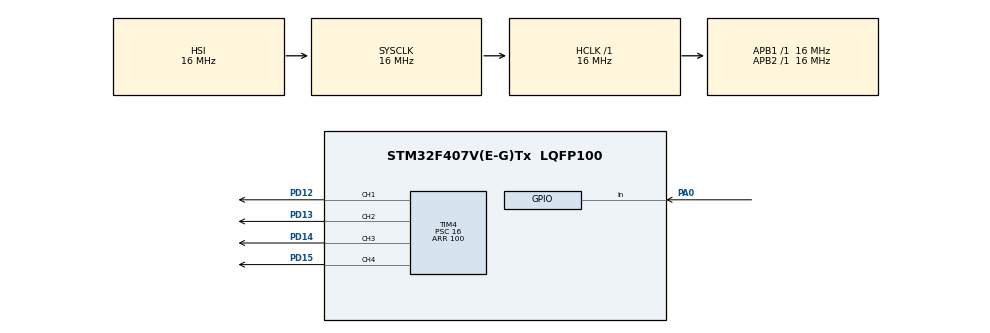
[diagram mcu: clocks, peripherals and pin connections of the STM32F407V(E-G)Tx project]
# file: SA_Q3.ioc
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Mcu.Family=STM32F4
Mcu.Name=STM32F407V(E-G)Tx
Mcu.Package=LQFP100
NVIC.PriorityGroup=NVIC_PRIORITYGROUP_4
NVIC.TIM4_IRQn=true\:0\:0\:false\:false\:true\:true\:true\:true
PA0-WKUP.Signal=GPIO_Input
PD12.Signal=S_TIM4_CH1
PD13.Signal=S_TIM4_CH2
PD14.Signal=S_TIM4_CH3
PD15.Signal=S_TIM4_CH4
ProjectManager.HeapSize=0x200
ProjectManager.StackSize=0x400
ProjectManager.TargetToolchain=STM32CubeIDE
RCC.AHBFreq_Value=16000000
RCC.APB1Freq_Value=16000000
RCC.APB2Freq_Value=16000000
RCC.CortexFreq_Value=16000000
RCC.HSE_VALUE=25000000
RCC.HSI_VALUE=16000000
RCC.LSE_VALUE=32768
RCC.SYSCLKFreq_VALUE=16000000
RCC.VCOOutputFreq_Value=192000000
SH.S_TIM4_CH1.0=TIM4_CH1,PWM Generation1 CH1
SH.S_TIM4_CH2.0=TIM4_CH2,PWM Generation2 CH2
SH.S_TIM4_CH3.0=TIM4_CH3,PWM Generation3 CH3
SH.S_TIM4_CH4.0=TIM4_CH4,PWM Generation4 CH4
TIM4.Channel-PWM\ Generation1\ CH1=TIM_CHANNEL_1
TIM4.Channel-PWM\ Generation2\ CH2=TIM_CHANNEL_2
TIM4.Channel-PWM\ Generation3\ CH3=TIM_CHANNEL_3
TIM4.Channel-PWM\ Generation4\ CH4=TIM_CHANNEL_4
TIM4.Period=100
TIM4.Prescaler=16
VP_TIM4_VS_ClockSourceINT.Mode=Internal
board=custom

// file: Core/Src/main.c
/* USER CODE BEGIN Header */
/**
  ******************************************************************************
  * @file           : main.c
  * @brief          : Main program body
  ******************************************************************************
  * @attention
  *
  * Copyright (c) 2026 STMicroelectronics.
  * All rights reserved.
  *
  * This software is licensed under terms that can be found in the LICENSE file
  * in the root directory of this software component.
  * If no LICENSE file comes with this software, it is provided AS-IS.
  *
  ******************************************************************************
  */
/* USER CODE END Header */
#include "main.h"

TIM_HandleTypeDef htim4;

/* USER CODE BEGIN PV */
uint8_t count = 0;
uint8_t dutycycle = 0;
/* USER CODE END PV */

void SystemClock_Config(void);
static void MX_GPIO_Init(void);
static void MX_TIM4_Init(void);

int main(void)
{

  /* MCU Configuration--------------------------------------------------------*/

  /* Reset of all peripherals, Initializes the Flash interface and the Systick. */
  HAL_Init();

  /* Configure the system clock */
  SystemClock_Config();

  /* Initialize all configured peripherals */
  MX_GPIO_Init();
  MX_TIM4_Init();
  /* USER CODE BEGIN 2 */
  HAL_TIM_PWM_Start(&htim4,TIM_CHANNEL_1);
  HAL_TIM_PWM_Start(&htim4,TIM_CHANNEL_2);
  HAL_TIM_PWM_Start(&htim4,TIM_CHANNEL_3);
  HAL_TIM_PWM_Start(&htim4,TIM_CHANNEL_4);
  /* USER CODE END 2 */

  /* Infinite loop */
  /* USER CODE BEGIN WHILE */
  while (1)
  {
	  if(HAL_GPIO_ReadPin(GPIOA, GPIO_PIN_0) == GPIO_PIN_SET){
		  HAL_Delay(200);
		  if(count >= 4){
			  count = 0;
		  }else{
			  count++;
		  }
	  }

	  switch(count){
	  case 0:
		  dutycycle = 0;
		  break;
	  case 1:
		  dutycycle = 25;
		  break;
	  case 2:
		  dutycycle = 50;
		  break;
	  case 3:
		  dutycycle = 75;
		  break;
	  case 4:
		  dutycycle = 100;
		  break;
	  default:
	  }
		  htim4.Instance->CCR1 = dutycycle;
		  htim4.Instance->CCR2 = dutycycle;
		  htim4.Instance->CCR3 = dutycycle;
		  htim4.Instance->CCR4 = dutycycle;

    /* USER CODE END WHILE */

  }
}

void SystemClock_Config(void)
{
  RCC_OscInitTypeDef RCC_OscInitStruct = {0};
  RCC_ClkInitTypeDef RCC_ClkInitStruct = {0};

  /** Configure the main internal regulator output voltage
  */
  __HAL_RCC_PWR_CLK_ENABLE();
  __HAL_PWR_VOLTAGESCALING_CONFIG(PWR_REGULATOR_VOLTAGE_SCALE1);

  /** Initializes the RCC Oscillators according to the specified parameters
  * in the RCC_OscInitTypeDef structure.
  */
  RCC_OscInitStruct.OscillatorType = RCC_OSCILLATORTYPE_HSI;
  RCC_OscInitStruct.HSIState = RCC_HSI_ON;
  RCC_OscInitStruct.HSICalibrationValue = RCC_HSICALIBRATION_DEFAULT;
  RCC_OscInitStruct.PLL.PLLState = RCC_PLL_NONE;
  if (HAL_RCC_OscConfig(&RCC_OscInitStruct) != HAL_OK)
  {
    Error_Handler();
  }

  /** Initializes the CPU, AHB and APB buses clocks
  */
  RCC_ClkInitStruct.ClockType = RCC_CLOCKTYPE_HCLK|RCC_CLOCKTYPE_SYSCLK
                              |RCC_CLOCKTYPE_PCLK1|RCC_CLOCKTYPE_PCLK2;
  RCC_ClkInitStruct.SYSCLKSource = RCC_SYSCLKSOURCE_HSI;
  RCC_ClkInitStruct.AHBCLKDivider = RCC_SYSCLK_DIV1;
  RCC_ClkInitStruct.APB1CLKDivider = RCC_HCLK_DIV1;
  RCC_ClkInitStruct.APB2CLKDivider = RCC_HCLK_DIV1;

  if (HAL_RCC_ClockConfig(&RCC_ClkInitStruct, FLASH_LATENCY_0) != HAL_OK)
  {
    Error_Handler();
  }
}

static void MX_TIM4_Init(void)
{

  TIM_ClockConfigTypeDef sClockSourceConfig = {0};
  TIM_MasterConfigTypeDef sMasterConfig = {0};
  TIM_OC_InitTypeDef sConfigOC = {0};

  htim4.Instance = TIM4;
  htim4.Init.Prescaler = 16;
  htim4.Init.CounterMode = TIM_COUNTERMODE_UP;
  htim4.Init.Period = 100;
  htim4.Init.ClockDivision = TIM_CLOCKDIVISION_DIV1;
  htim4.Init.AutoReloadPreload = TIM_AUTORELOAD_PRELOAD_DISABLE;
  if (HAL_TIM_Base_Init(&htim4) != HAL_OK)
  {
    Error_Handler();
  }
  sClockSourceConfig.ClockSource = TIM_CLOCKSOURCE_INTERNAL;
  if (HAL_TIM_ConfigClockSource(&htim4, &sClockSourceConfig) != HAL_OK)
  {
    Error_Handler();
  }
  if (HAL_TIM_PWM_Init(&htim4) != HAL_OK)
  {
    Error_Handler();
  }
  sMasterConfig.MasterOutputTrigger = TIM_TRGO_RESET;
  sMasterConfig.MasterSlaveMode = TIM_MASTERSLAVEMODE_DISABLE;
  if (HAL_TIMEx_MasterConfigSynchronization(&htim4, &sMasterConfig) != HAL_OK)
  {
    Error_Handler();
  }
  sConfigOC.OCMode = TIM_OCMODE_PWM1;
  sConfigOC.Pulse = 0;
  sConfigOC.OCPolarity = TIM_OCPOLARITY_HIGH;
  sConfigOC.OCFastMode = TIM_OCFAST_DISABLE;
  if (HAL_TIM_PWM_ConfigChannel(&htim4, &sConfigOC, TIM_CHANNEL_1) != HAL_OK)
  {
    Error_Handler();
  }
  if (HAL_TIM_PWM_ConfigChannel(&htim4, &sConfigOC, TIM_CHANNEL_2) != HAL_OK)
  {
    Error_Handler();
  }
  if (HAL_TIM_PWM_ConfigChannel(&htim4, &sConfigOC, TIM_CHANNEL_3) != HAL_OK)
  {
    Error_Handler();
  }
  if (HAL_TIM_PWM_ConfigChannel(&htim4, &sConfigOC, TIM_CHANNEL_4) != HAL_OK)
  {
    Error_Handler();
  }
  HAL_TIM_MspPostInit(&htim4);

}

static void MX_GPIO_Init(void)
{
  GPIO_InitTypeDef GPIO_InitStruct = {0};

  /* GPIO Ports Clock Enable */
  __HAL_RCC_GPIOA_CLK_ENABLE();
  __HAL_RCC_GPIOD_CLK_ENABLE();

  /*Configure GPIO pin : PA0 */
  GPIO_InitStruct.Pin = GPIO_PIN_0;
  GPIO_InitStruct.Mode = GPIO_MODE_INPUT;
  GPIO_InitStruct.Pull = GPIO_NOPULL;
  HAL_GPIO_Init(GPIOA, &GPIO_InitStruct);

}

void Error_Handler(void)
{
  __disable_irq();
  while (1)
  {
  }
}
